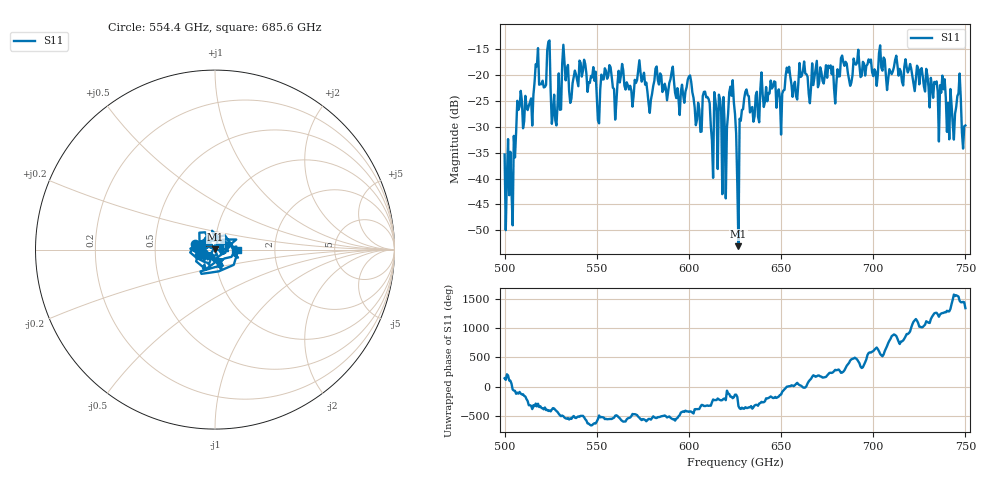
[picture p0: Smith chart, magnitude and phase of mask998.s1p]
!Created with skrf (http://scikit-rf.org).
# GHz S MA R 50.0
!freq magS11 angS11
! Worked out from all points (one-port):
!   401 points, 500 GHz to 750 GHz, reference 50 ohm
!   lowest |S11| = -53.1 dB at 626.9 GHz (marker M1), VSWR 1.00, Z = 50.2 + j0.0953 ohm
!   |S11| at or under -10 dB: start of sweep to end of sweep
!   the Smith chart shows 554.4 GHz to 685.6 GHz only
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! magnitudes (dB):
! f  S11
! 500 GHz  -35.3
! 503.8 GHz  -42.5
! 508.1 GHz  -26.1
! 513.8 GHz  -25.2
! 517.5 GHz  -18.3
! 523.8 GHz  -13.5
! 526.9 GHz  -23.8
! 531.2 GHz  -17.8
! 542.5 GHz  -19.2
! 551.2 GHz  -29.3
! 562.5 GHz  -21.4
! 593.8 GHz  -22.5
! 600.6 GHz  -20.1
! 605.6 GHz  -26.6
! 609.4 GHz  -24.3
! 619.4 GHz  -29.5
! 623.1 GHz  -24.0
! 625 GHz  -27.5
! 626.9 GHz  -53.1
! 628.8 GHz  -26.7
! 631.2 GHz  -22.8
! 656.2 GHz  -24.2
! 687.5 GHz  -22.1
! 718.8 GHz  -19.5
! 737.5 GHz  -20.1
! 742.5 GHz  -25.8
! 746.2 GHz  -23.5
! 750 GHz  -29.7
